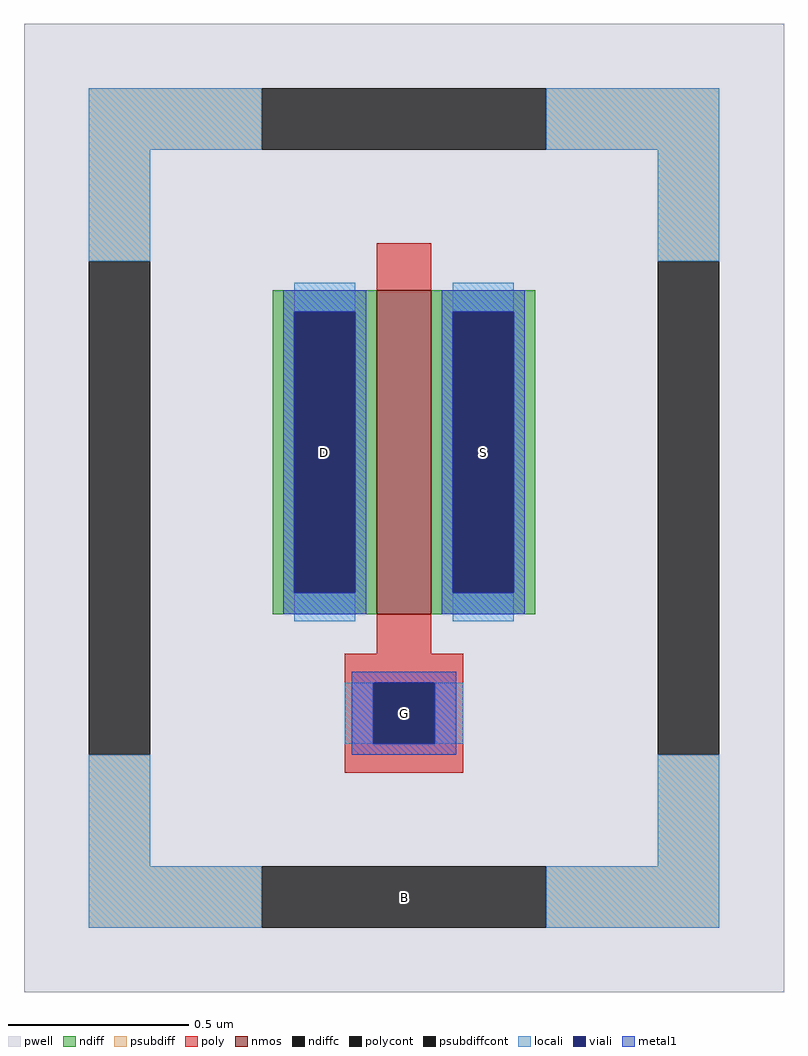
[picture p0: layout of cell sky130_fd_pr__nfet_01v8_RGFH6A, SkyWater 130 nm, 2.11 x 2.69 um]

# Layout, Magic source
magic
tech sky130A
magscale 1 2
<< pwell >>
rect -211 -269 211 269
<< nmos >>
rect -15 -59 15 121
<< ndiff >>
rect -73 109 -15 121
rect -73 -47 -61 109
rect -27 -47 -15 109
rect -73 -59 -15 -47
rect 15 109 73 121
rect 15 -47 27 109
rect 61 -47 73 109
rect 15 -59 73 -47
<< ndiffc >>
rect -61 -47 -27 109
rect 27 -47 61 109
<< psubdiff >>
rect -175 199 -79 233
rect 79 199 175 233
rect -175 137 -141 199
rect 141 137 175 199
rect -175 -199 -141 -137
rect 141 -199 175 -137
rect -175 -233 -79 -199
rect 79 -233 175 -199
<< psubdiffcont >>
rect -79 199 79 233
rect -175 -137 -141 137
rect 141 -137 175 137
rect -79 -233 79 -199
<< poly >>
rect -15 121 15 147
rect -15 -81 15 -59
rect -33 -97 33 -81
rect -33 -131 -17 -97
rect 17 -131 33 -97
rect -33 -147 33 -131
<< polycont >>
rect -17 -131 17 -97
<< locali >>
rect -175 199 -79 233
rect 79 199 175 233
rect -175 137 -141 199
rect 141 137 175 199
rect -61 109 -27 125
rect -61 -63 -27 -47
rect 27 109 61 125
rect 27 -63 61 -47
rect -33 -131 -17 -97
rect 17 -131 33 -97
rect -175 -199 -141 -137
rect 141 -199 175 -137
rect -175 -233 -79 -199
rect 79 -233 175 -199
<< viali >>
rect -61 -47 -27 109
rect 27 -47 61 109
rect -17 -131 17 -97
<< metal1 >>
rect -67 109 -21 121
rect -67 -47 -61 109
rect -27 -47 -21 109
rect -67 -59 -21 -47
rect 21 109 67 121
rect 21 -47 27 109
rect 61 -47 67 109
rect 21 -59 67 -47
rect -29 -97 29 -91
rect -29 -131 -17 -97
rect 17 -131 29 -97
rect -29 -137 29 -131
<< labels >>
rlabel psubdiffcont 0 -216 0 -216 0 B
port 1 nsew
rlabel ndiffc -44 31 -44 31 0 D
port 2 nsew
rlabel ndiffc 44 31 44 31 0 S
port 3 nsew
rlabel polycont 0 -114 0 -114 0 G
port 4 nsew
<< properties >>
string FIXED_BBOX -158 -216 158 216
string gencell sky130_fd_pr__nfet_01v8
string library sky130
string parameters w 0.9 l 0.15 m 1 nf 1 diffcov 100 polycov 100 guard 1 glc 1 grc 1 gtc 1 gbc 1 tbcov 100 rlcov 100 topc 0 botc 1 poverlap 0 doverlap 1 lmin 0.15 wmin 0.42 class mosfet compatible {sky130_fd_pr__nfet_01v8 sky130_fd_pr__nfet_01v8_lvt  sky130_fd_bs_flash__special_sonosfet_star  sky130_fd_pr__nfet_g5v0d10v5 sky130_fd_pr__nfet_05v0_nvt  sky130_fd_pr__nfet_03v3_nvt} full_metal 1 viasrc 100 viadrn 100 viagate 100 viagb 0 viagr 0 viagl 0 viagt 0 doports 1
<< end >>
